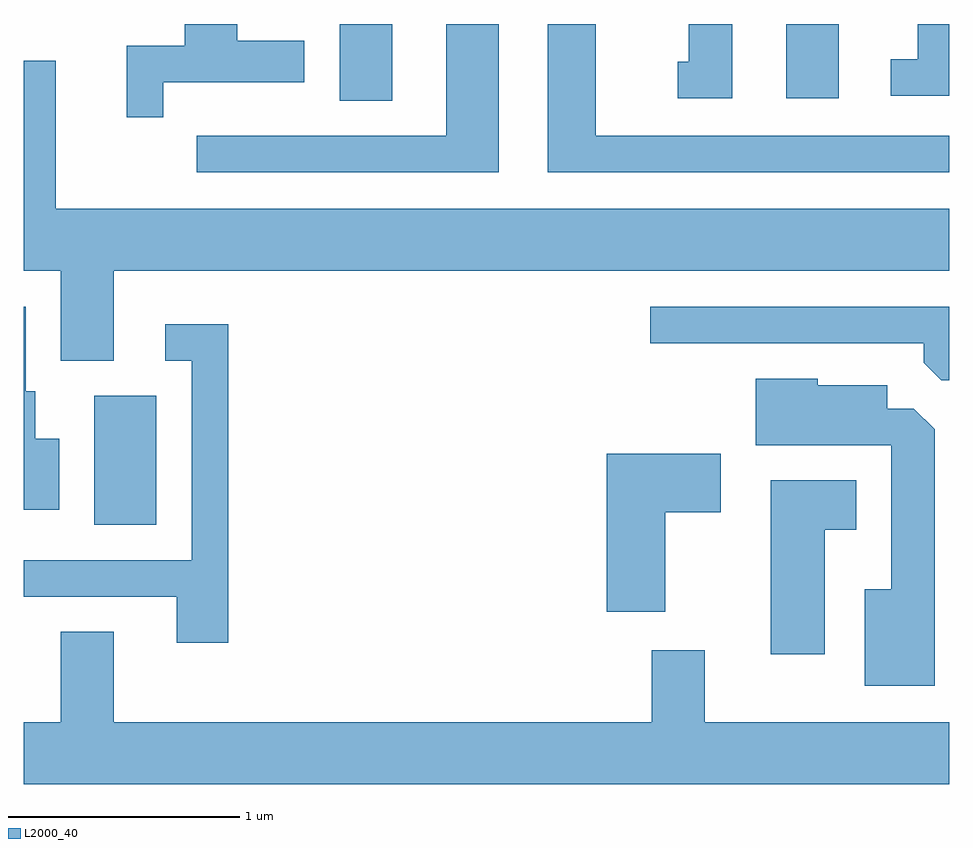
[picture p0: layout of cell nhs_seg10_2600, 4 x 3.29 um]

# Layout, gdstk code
import gdstk
lib = gdstk.Library(unit=1e-6, precision=1e-09)
def R(c, l, rs):  # rectangles x0, y0, x1, y1
    for r in rs: c.add(gdstk.rectangle(r[:2], r[2:], *l))
def P(c, l, *ps):  # polygons
    for p in ps: c.add(gdstk.Polygon(p, *l))
L2000_40 = (2000, 40)

nhs_seg10_2600 = lib.new_cell('nhs_seg10_2600')
R(nhs_seg10_2600, L2000_40, [(261.916,2128.356,262.184,2128.914), (262.976,2130.191,263.204,2130.522), (264.906,2130.201,265.134,2130.522)])
P(nhs_seg10_2600, L2000_40, [(265.611,2130.522),(265.476,2130.522),(265.476,2130.369),(265.358,2130.369),(265.358,2130.211),(265.611,2130.211)],
  [(265.611,2130.039),(264.084,2130.039),(264.084,2130.522),(263.876,2130.522),(263.876,2129.881),(265.611,2129.881)],
  [(264.674,2130.522),(264.486,2130.522),(264.486,2130.359),(264.438,2130.359),(264.438,2130.201),(264.674,2130.201)],
  [(262.214,2130.271),(262.824,2130.271),(262.824,2130.449),(262.534,2130.449),(262.534,2130.522),(262.306,2130.522),(262.306,2130.429),(262.056,2130.429),(262.056,2130.118),(262.214,2130.118)],
  [(263.664,2130.522),(263.436,2130.522),(263.436,2130.039),(262.358,2130.039),(262.358,2129.881),(263.664,2129.881)],
  [(261.999,2129.456),(265.611,2129.456),(265.611,2129.724),(261.749,2129.724),(261.749,2130.363),(261.611,2130.363),(261.611,2129.456),(261.771,2129.456),(261.771,2129.066),(261.999,2129.066)],
  [(261.764,2128.729),(261.659,2128.729),(261.659,2128.934),(261.619,2128.934),(261.619,2129.299),(261.611,2129.299),(261.611,2128.421),(261.764,2128.421)],
  [(265.611,2129.299),(264.318,2129.299),(264.318,2129.141),(265.501,2129.141),(265.501,2129.057),(265.577,2128.981),(265.611,2128.981)],
  [(262.494,2129.224),(262.223,2129.224),(262.223,2129.066),(262.336,2129.066),(262.336,2128.204),(261.611,2128.204),(261.611,2128.046),(262.271,2128.046),(262.271,2127.846),(262.494,2127.846)],
  [(265.549,2128.769),(265.459,2128.859),(265.344,2128.859),(265.344,2128.959),(265.044,2128.959),(265.044,2128.989),(264.776,2128.989),(264.776,2128.701),(265.361,2128.701),(265.361,2128.079),(265.246,2128.079),(265.246,2127.661),(265.549,2127.661)],
  [(264.384,2128.411),(264.624,2128.411),(264.624,2128.664),(264.131,2128.664),(264.131,2127.981),(264.384,2127.981)],
  [(265.074,2128.336),(265.209,2128.336),(265.209,2128.549),(264.841,2128.549),(264.841,2127.796),(265.074,2127.796)],
  [(265.611,2127.504),(264.554,2127.504),(264.554,2127.814),(264.326,2127.814),(264.326,2127.504),(261.999,2127.504),(261.999,2127.894),(261.771,2127.894),(261.771,2127.504),(261.611,2127.504),(261.611,2127.236),(265.611,2127.236)])

lib.write_gds('nhs_seg10_2600.gds')
